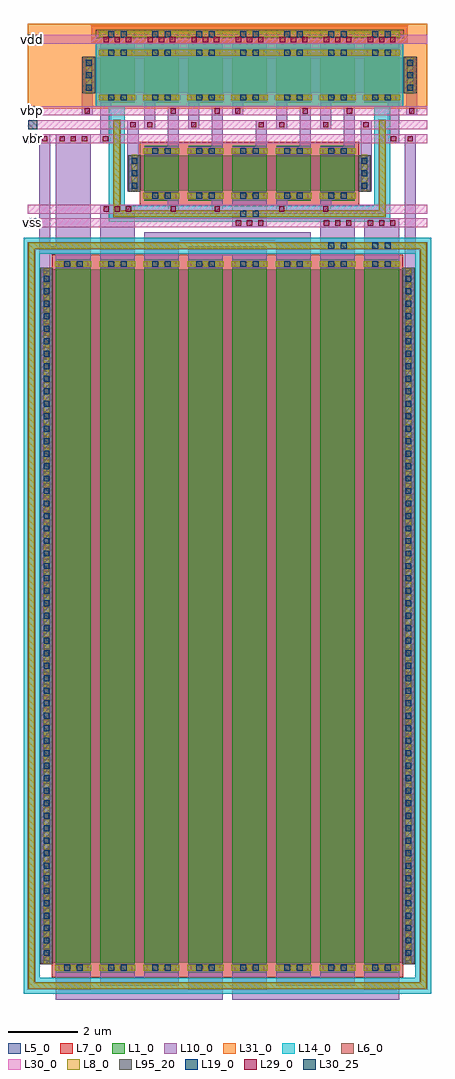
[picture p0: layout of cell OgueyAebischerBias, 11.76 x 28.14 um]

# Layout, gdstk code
from math import pi, radians
import gdstk
lib = gdstk.Library(unit=1e-6, precision=1e-09)
def R(c, l, rs):  # rectangles x0, y0, x1, y1
    for r in rs: c.add(gdstk.rectangle(r[:2], r[2:], *l))
def A(c, l, x, y, w, h, nx, ny, dx, dy):  # array of equal rectangles
    R(c, l, [(x+i*dx, y+j*dy, x+i*dx+w, y+j*dy+h) for i in range(nx) for j in range(ny)])
L1_0 = (1, 0)
L5_0 = (5, 0)
L6_0 = (6, 0)
L7_0 = (7, 0)
L8_0 = (8, 0)
L10_0 = (10, 0)
L14_0 = (14, 0)
L19_0 = (19, 0)
L29_0 = (29, 0)
L30_0 = (30, 0)
L30_25 = (30, 25)
L31_0 = (31, 0)
L95_20 = (95, 20)

nmos1x20_8x = lib.new_cell('nmos1x20_8x')
A(nmos1x20_8x, L1_0, -4.31, -10.29, 1, 20.58, 8, 1, 1.27, 0)
R(nmos1x20_8x, L5_0, [(-4.75,-10,6.03,10)])
A(nmos1x20_8x, L6_0, -4.235, -10.23, 0.17, 0.17, 3, 2, 0.34, 20.29)
A(nmos1x20_8x, L6_0, -2.965, -10.23, 0.17, 0.17, 3, 2, 0.34, 20.29)
A(nmos1x20_8x, L6_0, -1.695, -10.23, 0.17, 0.17, 3, 2, 0.34, 20.29)
A(nmos1x20_8x, L6_0, -0.425, -10.23, 0.17, 0.17, 3, 2, 0.34, 20.29)
A(nmos1x20_8x, L6_0, 0.845, -10.23, 0.17, 0.17, 3, 2, 0.34, 20.29)
A(nmos1x20_8x, L6_0, 2.115, -10.23, 0.17, 0.17, 3, 2, 0.34, 20.29)
A(nmos1x20_8x, L6_0, 3.385, -10.23, 0.17, 0.17, 3, 2, 0.34, 20.29)
A(nmos1x20_8x, L6_0, 4.655, -10.23, 0.17, 0.17, 3, 2, 0.34, 20.29)
A(nmos1x20_8x, L6_0, -4.67, -9.945, 0.17, 0.17, 1, 59, 0, 0.34)
A(nmos1x20_8x, L6_0, 5.77, -9.945, 0.17, 0.17, 1, 59, 0, 0.34)
R(nmos1x20_8x, L7_0, [(-4.435,-10.415,5.705,10.415)])
A(nmos1x20_8x, L8_0, -4.33, -10.23, 1.04, 0.17, 8, 2, 1.27, 20.29)
R(nmos1x20_8x, L8_0, [(-4.67,-10.03,-4.5,10.03), (5.77,-10.03,5.94,10.03)])
A(nmos1x20_8x, L10_0, -4.31, -10.26, 1, 0.23, 8, 2, 1.27, 20.29)
R(nmos1x20_8x, L10_0, [(-4.7,-10.01,-4.47,10.01), (5.74,-10.01,5.97,10.01)])
A(nmos1x20_8x, L19_0, -4.67, -9.805, 0.17, 0.17, 1, 55, 0, 0.36)
A(nmos1x20_8x, L19_0, 5.77, -9.805, 0.17, 0.17, 1, 55, 0, 0.36)
R(nmos1x20_8x, L19_0, [(-4.075,-10.23,-3.905,-10.06), (-3.715,-10.23,-3.545,-10.06), (-2.805,-10.23,-2.635,-10.06), (-2.445,-10.23,-2.275,-10.06), (-1.535,-10.23,-1.365,-10.06), (-1.175,-10.23,-1.005,-10.06), (-0.265,-10.23,-0.095,-10.06), (0.095,-10.23,0.265,-10.06), (1.005,-10.23,1.175,-10.06), (1.365,-10.23,1.535,-10.06), (2.275,-10.23,2.445,-10.06), (2.635,-10.23,2.805,-10.06), (3.545,-10.23,3.715,-10.06), (3.905,-10.23,4.075,-10.06), (4.815,-10.23,4.985,-10.06), (5.175,-10.23,5.345,-10.06), (-4.075,10.06,-3.905,10.23), (-3.715,10.06,-3.545,10.23), (-2.805,10.06,-2.635,10.23), (-2.445,10.06,-2.275,10.23), (-1.535,10.06,-1.365,10.23), (-1.175,10.06,-1.005,10.23), (-0.265,10.06,-0.095,10.23), (0.095,10.06,0.265,10.23), (1.005,10.06,1.175,10.23), (1.365,10.06,1.535,10.23), (2.275,10.06,2.445,10.23), (2.635,10.06,2.805,10.23), (3.545,10.06,3.715,10.23), (3.905,10.06,4.075,10.23), (4.815,10.06,4.985,10.23), (5.175,10.06,5.345,10.23)])
R(nmos1x20_8x, L95_20, [(-4.77,-10.045,-4.4,10.045), (5.67,-10.045,6.04,10.045)])

nmos_1x80_2x = lib.new_cell('nmos_1x80_2x')
A(nmos_1x80_2x, L6_0, -0.14, -0.47, 0.17, 0.17, 33, 2, 0.34, 21.34)
A(nmos_1x80_2x, L6_0, -0.35, 0, 0.17, 0.17, 1, 61, 0, 0.34)
A(nmos_1x80_2x, L6_0, 10.95, 0, 0.17, 0.17, 1, 61, 0, 0.34)
R(nmos_1x80_2x, L6_0, [(-0.37,-0.49,11.14,-0.28), (-0.37,-0.28,-0.16,20.85), (10.93,-0.28,11.14,20.85), (-0.37,20.85,11.14,21.06)])
R(nmos_1x80_2x, L8_0, [(-0.35,-0.47,11.12,-0.3), (-0.35,-0.3,-0.18,20.87), (10.95,-0.3,11.12,20.87), (-0.35,20.87,11.12,21.04)])
R(nmos_1x80_2x, L10_0, [(2.98,-0.77,7.79,-0.51), (2.98,-0.51,3.98,0.26), (6.79,-0.51,7.79,0.26), (4.25,-0.37,6.52,-0.11), (4.25,-0.11,5.25,0.26), (5.52,-0.11,6.52,0.26), (-0.04,0.28,0.28,20.3), (10.49,0.28,10.81,20.3), (0.44,20.32,1.44,21.09), (1.71,20.32,2.71,20.69), (2.98,20.32,3.98,20.69), (4.25,20.32,5.25,21.09), (5.52,20.32,6.52,21.09), (6.79,20.32,7.79,20.69), (8.06,20.32,9.06,20.69), (9.33,20.32,10.33,21.09), (1.71,20.69,3.98,20.95), (6.79,20.69,9.06,20.95), (0.44,21.09,5.25,21.35), (5.52,21.09,10.33,21.35)])
R(nmos_1x80_2x, L14_0, [(-0.495,-0.615,11.265,-0.155), (-0.495,-0.155,-0.035,20.725), (10.805,-0.155,11.265,20.725), (-0.495,20.725,11.265,21.185)])
nmos_1x80_2x.add(gdstk.Reference(nmos1x20_8x, (4.75,10.29)))

pmos_7x = lib.new_cell('pmos_7x')
A(pmos_7x, L1_0, -4.31, -0.79, 1, 1.58, 7, 1, 1.27, 0)
R(pmos_7x, L5_0, [(-4.8,-0.5,4.8,0.5)])
A(pmos_7x, L6_0, -4.235, -0.73, 0.17, 0.17, 3, 2, 0.34, 1.29)
A(pmos_7x, L6_0, -2.965, -0.73, 0.17, 0.17, 3, 2, 0.34, 1.29)
A(pmos_7x, L6_0, -1.695, -0.73, 0.17, 0.17, 3, 2, 0.34, 1.29)
A(pmos_7x, L6_0, -0.425, -0.73, 0.17, 0.17, 3, 2, 0.34, 1.29)
A(pmos_7x, L6_0, 0.845, -0.73, 0.17, 0.17, 3, 2, 0.34, 1.29)
A(pmos_7x, L6_0, 2.115, -0.73, 0.17, 0.17, 3, 2, 0.34, 1.29)
A(pmos_7x, L6_0, 3.385, -0.73, 0.17, 0.17, 3, 2, 0.34, 1.29)
A(pmos_7x, L6_0, -4.72, -0.425, 0.17, 0.17, 1, 3, 0, 0.34)
A(pmos_7x, L6_0, 4.55, -0.425, 0.17, 0.17, 1, 3, 0, 0.34)
A(pmos_7x, L8_0, -4.33, -0.73, 1.04, 0.17, 7, 2, 1.27, 1.29)
R(pmos_7x, L8_0, [(-4.72,-0.53,-4.55,0.53), (4.55,-0.53,4.72,0.53)])
A(pmos_7x, L10_0, -4.31, -0.76, 1, 0.23, 7, 2, 1.27, 1.29)
R(pmos_7x, L10_0, [(-4.75,-0.51,-4.52,0.51), (4.52,-0.51,4.75,0.51)])
R(pmos_7x, L14_0, [(-4.435,-0.915,4.435,0.915)])
A(pmos_7x, L19_0, -4.72, -0.445, 0.17, 0.17, 1, 3, 0, 0.36)
A(pmos_7x, L19_0, 4.55, -0.445, 0.17, 0.17, 1, 3, 0, 0.36)
R(pmos_7x, L19_0, [(-4.075,-0.73,-3.905,-0.56), (-3.715,-0.73,-3.545,-0.56), (-2.805,-0.73,-2.635,-0.56), (-2.445,-0.73,-2.275,-0.56), (-1.535,-0.73,-1.365,-0.56), (-1.175,-0.73,-1.005,-0.56), (-0.265,-0.73,-0.095,-0.56), (0.095,-0.73,0.265,-0.56), (1.005,-0.73,1.175,-0.56), (1.365,-0.73,1.535,-0.56), (2.275,-0.73,2.445,-0.56), (2.635,-0.73,2.805,-0.56), (3.545,-0.73,3.715,-0.56), (3.905,-0.73,4.075,-0.56), (-4.075,0.56,-3.905,0.73), (-3.715,0.56,-3.545,0.73), (-2.805,0.56,-2.635,0.73), (-2.445,0.56,-2.275,0.73), (-1.535,0.56,-1.365,0.73), (-1.175,0.56,-1.005,0.73), (-0.265,0.56,-0.095,0.73), (0.095,0.56,0.265,0.73), (1.005,0.56,1.175,0.73), (1.365,0.56,1.535,0.73), (2.275,0.56,2.445,0.73), (2.635,0.56,2.805,0.73), (3.545,0.56,3.715,0.73), (3.905,0.56,4.075,0.73)])
R(pmos_7x, L31_0, [(-4.62,-0.97,4.62,0.97)])
R(pmos_7x, L95_20, [(-4.82,-0.525,-4.45,0.525), (4.45,-0.525,4.82,0.525)])

nmos_5x = lib.new_cell('nmos_5x')
A(nmos_5x, L1_0, -3.04, -0.79, 1, 1.58, 5, 1, 1.27, 0)
R(nmos_5x, L5_0, [(-3.48,-0.5,3.48,0.5)])
A(nmos_5x, L6_0, -2.965, -0.73, 0.17, 0.17, 3, 2, 0.34, 1.29)
A(nmos_5x, L6_0, -1.695, -0.73, 0.17, 0.17, 3, 2, 0.34, 1.29)
A(nmos_5x, L6_0, -0.425, -0.73, 0.17, 0.17, 3, 2, 0.34, 1.29)
A(nmos_5x, L6_0, 0.845, -0.73, 0.17, 0.17, 3, 2, 0.34, 1.29)
A(nmos_5x, L6_0, 2.115, -0.73, 0.17, 0.17, 3, 2, 0.34, 1.29)
A(nmos_5x, L6_0, -3.4, -0.425, 0.17, 0.17, 1, 3, 0, 0.34)
A(nmos_5x, L6_0, 3.23, -0.425, 0.17, 0.17, 1, 3, 0, 0.34)
R(nmos_5x, L7_0, [(-3.165,-0.915,3.165,0.915)])
A(nmos_5x, L8_0, -3.06, -0.73, 1.04, 0.17, 5, 2, 1.27, 1.29)
R(nmos_5x, L8_0, [(-3.4,-0.53,-3.23,0.53), (3.23,-0.53,3.4,0.53)])
A(nmos_5x, L10_0, -3.04, -0.76, 1, 0.23, 5, 2, 1.27, 1.29)
R(nmos_5x, L10_0, [(-3.43,-0.51,-3.2,0.51), (3.2,-0.51,3.43,0.51)])
A(nmos_5x, L19_0, -3.4, -0.445, 0.17, 0.17, 1, 3, 0, 0.36)
A(nmos_5x, L19_0, 3.23, -0.445, 0.17, 0.17, 1, 3, 0, 0.36)
R(nmos_5x, L19_0, [(-2.805,-0.73,-2.635,-0.56), (-2.445,-0.73,-2.275,-0.56), (-1.535,-0.73,-1.365,-0.56), (-1.175,-0.73,-1.005,-0.56), (-0.265,-0.73,-0.095,-0.56), (0.095,-0.73,0.265,-0.56), (1.005,-0.73,1.175,-0.56), (1.365,-0.73,1.535,-0.56), (2.275,-0.73,2.445,-0.56), (2.635,-0.73,2.805,-0.56), (-2.805,0.56,-2.635,0.73), (-2.445,0.56,-2.275,0.73), (-1.535,0.56,-1.365,0.73), (-1.175,0.56,-1.005,0.73), (-0.265,0.56,-0.095,0.73), (0.095,0.56,0.265,0.73), (1.005,0.56,1.175,0.73), (1.365,0.56,1.535,0.73), (2.275,0.56,2.445,0.73), (2.635,0.56,2.805,0.73)])
R(nmos_5x, L95_20, [(-3.5,-0.525,-3.13,0.525), (3.13,-0.525,3.5,0.525)])

ogueyaebischer_p7_n5 = lib.new_cell('OgueyAebischer_p7_n5')
A(ogueyaebischer_p7_n5, L6_0, 1.135, -1.11, 0.17, 0.17, 21, 1, 0.34, 0)
A(ogueyaebischer_p7_n5, L6_0, 0.71, -0.74, 0.17, 0.17, 1, 7, 0, 0.34)
A(ogueyaebischer_p7_n5, L6_0, 8.36, -0.74, 0.17, 0.17, 1, 7, 0, 0.34)
A(ogueyaebischer_p7_n5, L6_0, 0.455, 4.07, 0.17, 0.17, 25, 1, 0.34, 0)
R(ogueyaebischer_p7_n5, L6_0, [(0.69,-1.13,8.55,-0.92), (0.69,-0.92,0.9,1.69), (8.34,-0.92,8.55,1.69), (0.18,4.03,9.06,4.28)])
R(ogueyaebischer_p7_n5, L7_0, [(0.055,3.905,9.185,4.405)])
R(ogueyaebischer_p7_n5, L8_0, [(0.71,-1.11,8.53,-0.94), (0.71,-0.94,0.88,1.67), (8.36,-0.94,8.53,1.67), (0.29,3.53,8.95,3.7), (0.29,4.07,8.95,4.24)])
A(ogueyaebischer_p7_n5, L10_0, 0.31, 3.73, 1, 0.55, 7, 1, 1.27, 0)
R(ogueyaebischer_p7_n5, L10_0, [(4.12,-1.42,5.12,-0.39), (2.26,-1.02,2.58,-0.39), (3.53,-1.02,3.85,-0.39), (5.39,-1.02,5.71,-0.39), (6.66,-1.02,6.98,-0.39), (1.1,-0.37,1.42,1.67), (7.82,-0.37,8.14,1.67), (2.26,0.67,2.58,2.07), (3.53,0.67,3.85,2.07), (4.8,0.67,5.12,1.67), (6.07,0.67,6.39,2.07), (7.34,0.67,7.66,2.07), (0.31,1.01,0.63,2.44), (8.61,1.01,8.93,2.44), (1.58,1.41,1.9,2.44), (2.85,1.41,3.17,2.44), (5.39,1.41,5.71,2.44), (6.66,1.41,6.98,2.44), (-0.22,1.81,0.1,3.48), (4.12,1.81,4.44,2.44), (9.14,1.81,9.46,3.48), (0.31,3.5,8.93,3.73)])
R(ogueyaebischer_p7_n5, L14_0, [(0.565,-1.255,8.675,-0.795), (0.565,-0.795,1.025,2.055), (8.215,-0.795,8.675,2.055)])
R(ogueyaebischer_p7_n5, L19_0, [(4.355,-1.11,4.525,-0.94), (4.715,-1.11,4.885,-0.94), (0.545,4.07,0.715,4.24), (0.905,4.07,1.075,4.24), (1.815,4.07,1.985,4.24), (2.175,4.07,2.345,4.24), (3.085,4.07,3.255,4.24), (3.445,4.07,3.615,4.24), (4.355,4.07,4.525,4.24), (4.715,4.07,4.885,4.24), (5.625,4.07,5.795,4.24), (5.985,4.07,6.155,4.24), (6.895,4.07,7.065,4.24), (7.255,4.07,7.425,4.24), (8.165,4.07,8.335,4.24), (8.525,4.07,8.695,4.24)])
A(ogueyaebischer_p7_n5, L29_0, 4.225, -1.365, 0.15, 0.15, 3, 2, 0.32, 5.29)
A(ogueyaebischer_p7_n5, L29_0, 0.415, 3.925, 0.15, 0.15, 3, 1, 0.32, 0)
A(ogueyaebischer_p7_n5, L29_0, 1.685, 3.925, 0.15, 0.15, 3, 1, 0.32, 0)
A(ogueyaebischer_p7_n5, L29_0, 2.955, 3.925, 0.15, 0.15, 3, 1, 0.32, 0)
A(ogueyaebischer_p7_n5, L29_0, 5.495, 3.925, 0.15, 0.15, 3, 1, 0.32, 0)
A(ogueyaebischer_p7_n5, L29_0, 6.765, 3.925, 0.15, 0.15, 3, 1, 0.32, 0)
A(ogueyaebischer_p7_n5, L29_0, 8.035, 3.925, 0.15, 0.15, 3, 1, 0.32, 0)
R(ogueyaebischer_p7_n5, L29_0, [(2.345,-0.965,2.495,-0.815), (3.615,-0.965,3.765,-0.815), (5.475,-0.965,5.625,-0.815), (6.745,-0.965,6.895,-0.815), (0.395,1.065,0.545,1.215), (8.695,1.065,8.845,1.215), (1.185,1.465,1.335,1.615), (1.665,1.465,1.815,1.615), (2.935,1.465,3.085,1.615), (4.885,1.465,5.035,1.615), (5.475,1.465,5.625,1.615), (6.745,1.465,6.895,1.615), (7.905,1.465,8.055,1.615), (-0.135,1.865,0.015,2.015), (2.345,1.865,2.495,2.015), (3.615,1.865,3.765,2.015), (4.205,1.865,4.355,2.015), (6.155,1.865,6.305,2.015), (7.425,1.865,7.575,2.015), (9.225,1.865,9.375,2.015)])
A(ogueyaebischer_p7_n5, L30_0, -0.22, 1.01, 9.68, 0.26, 1, 3, 0, 0.4)
R(ogueyaebischer_p7_n5, L30_0, [(-0.22,-1.42,9.46,-1.16), (-0.22,-1.02,9.46,-0.76), (-0.22,3.87,9.46,4.13)])
R(ogueyaebischer_p7_n5, L31_0, [(-0.22,2,9.46,4.46)])
ogueyaebischer_p7_n5.add(gdstk.Reference(pmos_7x, (4.62,2.97)))
ogueyaebischer_p7_n5.add(gdstk.Reference(nmos_5x, (4.62,0.14), rotation=pi, x_reflection=True))

ogueyaebischerbias = lib.new_cell('OgueyAebischerBias')
R(ogueyaebischerbias, L8_0, [(6.72,-2.03,7.6,-1.86), (7.99,-2.03,8.87,-1.86)])
R(ogueyaebischerbias, L10_0, [(-1.44,-22.63,-1.12,-2.19), (9.09,-22.63,9.41,1.27), (-0.96,-2.59,0.04,-2.19), (0.31,-2.59,1.31,-0.76), (6.66,-2.59,7.66,-1.16), (7.93,-2.59,8.93,-1.16), (-1.44,-2.19,0.04,-1.96), (-1.44,-1.96,-1.12,1.27), (-0.96,-1.96,0.04,1.27)])
R(ogueyaebischerbias, L19_0, [(6.895,-2.03,7.065,-1.86), (7.255,-2.03,7.425,-1.86), (8.165,-2.03,8.335,-1.86), (8.525,-2.03,8.695,-1.86)])
A(ogueyaebischerbias, L29_0, 6.765, -1.365, 0.15, 0.15, 3, 1, 0.32, 0)
A(ogueyaebischerbias, L29_0, 8.035, -1.365, 0.15, 0.15, 3, 1, 0.32, 0)
A(ogueyaebischerbias, L29_0, 0.415, -0.965, 0.15, 0.15, 3, 1, 0.32, 0)
A(ogueyaebischerbias, L29_0, -0.855, 1.065, 0.15, 0.15, 3, 1, 0.32, 0)
R(ogueyaebischerbias, L29_0, [(-1.355,1.065,-1.205,1.215), (9.175,1.065,9.325,1.215)])
R(ogueyaebischerbias, L30_0, [(-1.77,-1.42,9.74,-1.16), (-1.77,-1.02,9.74,-0.76), (-1.77,1.01,9.74,1.27), (-1.76,1.41,9.74,1.67), (-1.77,1.81,9.74,2.07), (-1.77,3.87,9.74,4.13)])
R(ogueyaebischerbias, L30_25, [(-1.77,-1.42,-1.51,-1.16), (-1.77,1.01,-1.51,1.27), (-1.76,1.41,-1.5,1.67), (-1.77,1.81,-1.51,2.07), (-1.77,3.87,-1.51,4.13)])
R(ogueyaebischerbias, L31_0, [(-1.77,2,9.74,4.46)])
ogueyaebischerbias.add(gdstk.Reference(nmos_1x80_2x, (-1.4,-2.33), x_reflection=True))
ogueyaebischerbias.add(gdstk.Reference(ogueyaebischer_p7_n5, (0,0)))
ogueyaebischerbias.add(gdstk.Label('vss', (-1.64,-1.29), layer=30, texttype=2))
ogueyaebischerbias.add(gdstk.Label('vdd', (-1.64,4), layer=30, texttype=2))
ogueyaebischerbias.add(gdstk.Label('vbp', (-1.64,1.94), layer=30, texttype=2))
ogueyaebischerbias.add(gdstk.Label('vbn', (-1.63,1.54), layer=30, texttype=2))
ogueyaebischerbias.add(gdstk.Label('vbr', (-1.64,1.14), layer=30, texttype=2))

lib.write_gds('OgueyAebischerBias.gds')
